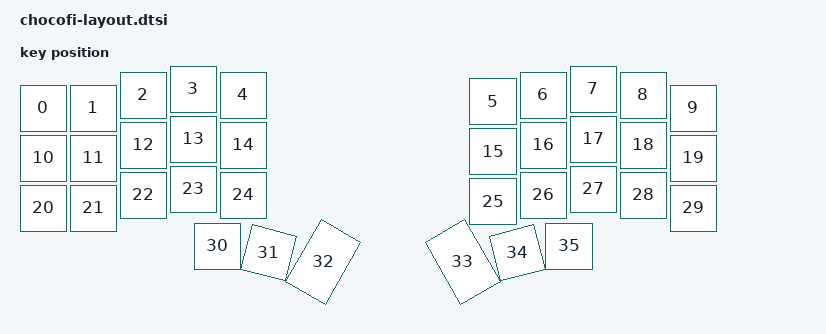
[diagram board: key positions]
#include <physical_layouts.dtsi>
#include <dt-bindings/zmk/matrix_transform.h>

/ {
    chocofi_layout: chocofi_layout {
        compatible = "zmk,physical-layout";
        display-name = "Default";


        kscan = <&kscan0>;
        transform = <&default_transform>;
        keys  //                     w   h    x    y     rot    rx    ry
            = <&key_physical_attrs 100 100    0   38       0     0     0>
            , <&key_physical_attrs 100 100  100   38       0     0     0>
            , <&key_physical_attrs 100 100  200   12       0     0     0>
            , <&key_physical_attrs 100 100  300    0       0     0     0>
            , <&key_physical_attrs 100 100  400   12       0     0     0>
            , <&key_physical_attrs 100 100  900   25       0     0     0>
            , <&key_physical_attrs 100 100 1000   12       0     0     0>
            , <&key_physical_attrs 100 100 1100    0       0     0     0>
            , <&key_physical_attrs 100 100 1200   12       0     0     0>
            , <&key_physical_attrs 100 100 1300   38       0     0     0>
            , <&key_physical_attrs 100 100    0  138       0     0     0>
            , <&key_physical_attrs 100 100  100  138       0     0     0>
            , <&key_physical_attrs 100 100  200  112       0     0     0>
            , <&key_physical_attrs 100 100  300  100       0     0     0>
            , <&key_physical_attrs 100 100  400  112       0     0     0>
            , <&key_physical_attrs 100 100  900  125       0     0     0>
            , <&key_physical_attrs 100 100 1000  112       0     0     0>
            , <&key_physical_attrs 100 100 1100  100       0     0     0>
            , <&key_physical_attrs 100 100 1200  112       0     0     0>
            , <&key_physical_attrs 100 100 1300  138       0     0     0>
            , <&key_physical_attrs 100 100    0  238       0     0     0>
            , <&key_physical_attrs 100 100  100  238       0     0     0>
            , <&key_physical_attrs 100 100  200  212       0     0     0>
            , <&key_physical_attrs 100 100  300  200       0     0     0>
            , <&key_physical_attrs 100 100  400  212       0     0     0>
            , <&key_physical_attrs 100 100  900  225       0     0     0>
            , <&key_physical_attrs 100 100 1000  212       0     0     0>
            , <&key_physical_attrs 100 100 1100  200       0     0     0>
            , <&key_physical_attrs 100 100 1200  212       0     0     0>
            , <&key_physical_attrs 100 100 1300  238       0     0     0>
            , <&key_physical_attrs 100 100  348  314       0     0     0>
            , <&key_physical_attrs 100 100  348  314    1500   398   764>
            , <&key_physical_attrs 100 150  348  264    3000   398   764>
            , <&key_physical_attrs 100 150 1052  264 (-3000)  1102   764>
            , <&key_physical_attrs 100 100 1052  314 (-1500)  1102   764>
            , <&key_physical_attrs 100 100 1052  314       0     0     0>
            ;
    };
    
    position_map {
        compatible = "zmk,physical-layout-position-map";

        chocofi_layout {
            physical-layout = <&chocofi_layout>;
            positions
            = < 0  1  2  3  4  5  6  7  8  9>
            , <10 11 12 13 14 15 16 17 18 19>
            , <20 21 22 23 24 25 26 27 28 29>
            , <      30 31 32 33 34 35      >;
        };
    };
};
